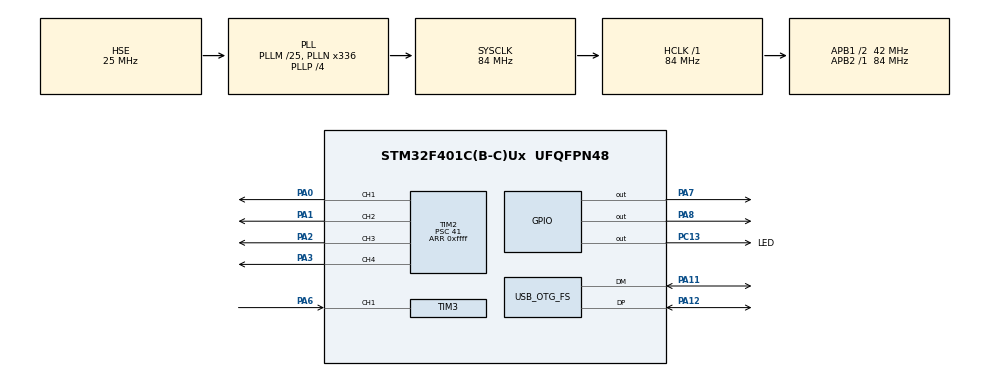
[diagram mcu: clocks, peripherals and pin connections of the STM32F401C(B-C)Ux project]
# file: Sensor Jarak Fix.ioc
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Mcu.Family=STM32F4
Mcu.Name=STM32F401C(B-C)Ux
Mcu.Package=UFQFPN48
NVIC.OTG_FS_IRQn=true\:0\:0\:false\:false\:true\:false\:true\:true
NVIC.PriorityGroup=NVIC_PRIORITYGROUP_4
NVIC.TIM2_IRQn=true\:0\:0\:false\:false\:true\:true\:true\:true
NVIC.TIM3_IRQn=true\:0\:0\:false\:false\:true\:true\:true\:true
PA0-WKUP.Signal=S_TIM2_CH1_ETR
PA1.Signal=S_TIM2_CH2
PA11.Mode=Device_Only
PA11.Signal=USB_OTG_FS_DM
PA12.Mode=Device_Only
PA12.Signal=USB_OTG_FS_DP
PA2.Signal=S_TIM2_CH3
PA3.Signal=S_TIM2_CH4
PA6.Signal=S_TIM3_CH1
PA7.Signal=GPIO_Output
PA8.Signal=GPIO_Output
PC13-ANTI_TAMP.GPIO_Label=LED
PC13-ANTI_TAMP.Signal=GPIO_Output
PH0\ -\ OSC_IN.Mode=HSE-External-Oscillator
PH0\ -\ OSC_IN.Signal=RCC_OSC_IN
PH1\ -\ OSC_OUT.Mode=HSE-External-Oscillator
PH1\ -\ OSC_OUT.Signal=RCC_OSC_OUT
ProjectManager.HeapSize=0x200
ProjectManager.StackSize=0x400
ProjectManager.TargetToolchain=STM32CubeIDE
RCC.48MHZClocksFreq_Value=48000000
RCC.AHBFreq_Value=84000000
RCC.APB1CLKDivider=RCC_HCLK_DIV2
RCC.APB1Freq_Value=42000000
RCC.APB1TimFreq_Value=84000000
RCC.APB2Freq_Value=84000000
RCC.APB2TimFreq_Value=84000000
RCC.CortexFreq_Value=84000000
RCC.HCLKFreq_Value=84000000
RCC.HSE_VALUE=25000000
RCC.HSI_VALUE=16000000
RCC.LSE_VALUE=32768
RCC.PLLM=25
RCC.PLLN=336
RCC.PLLP=RCC_PLLP_DIV4
RCC.PLLQ=7
RCC.SYSCLKFreq_VALUE=84000000
RCC.SYSCLKSource=RCC_SYSCLKSOURCE_PLLCLK
RCC.VCOOutputFreq_Value=336000000
SH.S_TIM2_CH1_ETR.0=TIM2_CH1,PWM Generation1 CH1
SH.S_TIM2_CH2.0=TIM2_CH2,PWM Generation2 CH2
SH.S_TIM2_CH3.0=TIM2_CH3,PWM Generation3 CH3
SH.S_TIM2_CH4.0=TIM2_CH4,PWM Generation4 CH4
SH.S_TIM3_CH1.0=TIM3_CH1,Input_Capture1_from_TI1
TIM2.Channel-PWM\ Generation1\ CH1=TIM_CHANNEL_1
TIM2.Channel-PWM\ Generation2\ CH2=TIM_CHANNEL_2
TIM2.Channel-PWM\ Generation3\ CH3=TIM_CHANNEL_3
TIM2.Channel-PWM\ Generation4\ CH4=TIM_CHANNEL_4
TIM2.Period=0xffff
TIM2.Prescaler=41
TIM3.Channel-Input_Capture1_from_TI1=TIM_CHANNEL_1
TIM3.Period=0xffff
TIM3.Prescaler=84-1
USB_DEVICE.CLASS_NAME_FS=CDC
USB_DEVICE.VirtualMode=Cdc
USB_DEVICE.VirtualModeFS=Cdc_FS
USB_OTG_FS.VirtualMode=Device_Only
VP_TIM2_VS_ClockSourceINT.Mode=Internal
VP_TIM3_VS_ClockSourceINT.Mode=Internal
VP_USB_DEVICE_VS_USB_DEVICE_CDC_FS.Mode=CDC_FS
board=custom

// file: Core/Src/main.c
/* USER CODE BEGIN Header */
/**
 ******************************************************************************
 * @file           : main.c
 * @brief          : Main program body
 ******************************************************************************
 * @attention
 *
 * Copyright (c) 2024 STMicroelectronics.
 * All rights reserved.
 *
 * This software is licensed under terms that can be found in the LICENSE file
 * in the root directory of this software component.
 * If no LICENSE file comes with this software, it is provided AS-IS.
 *
 ******************************************************************************
 */
/* USER CODE END Header */
#include "main.h"
#include "usb_device.h"

/* USER CODE BEGIN Includes */
#include "stdio.h"
#include "../../ECUAL/HCSR04/HCSR04.h"
/* USER CODE END Includes */

/* USER CODE BEGIN PD */
#define HCSR04_SENSOR1  0
/* USER CODE END PD */

TIM_HandleTypeDef htim2;
TIM_HandleTypeDef htim3;

void SystemClock_Config(void);
static void MX_GPIO_Init(void);
static void MX_TIM2_Init(void);
static void MX_TIM3_Init(void);

/* USER CODE BEGIN 0 */
int dataServo[5];
uint16_t SysTicks = 0;
int Distance = 0;
char MSG[25] = { 0 };

void HAL_TIM_IC_CaptureCallback(TIM_HandleTypeDef *htim) {
	HCSR04_TMR_IC_ISR(htim);
}

void HAL_TIM_PeriodElapsedCallback(TIM_HandleTypeDef *htim) {
	HCSR04_TMR_OVF_ISR(htim);
}

void SysTick_CallBack(void) {
	SysTicks++;
	if (SysTicks == 15) // Each 15msec
			{
		HCSR04_Trigger(0);
		SysTicks = 0;
	}
}
/* USER CODE END 0 */

int main(void) {

	/* MCU Configuration--------------------------------------------------------*/

	/* Reset of all peripherals, Initializes the Flash interface and the Systick. */
	HAL_Init();

	/* Configure the system clock */
	SystemClock_Config();

	/* Initialize all configured peripherals */
	MX_GPIO_Init();
	MX_TIM2_Init();
	MX_USB_DEVICE_Init();
	MX_TIM3_Init();
	/* USER CODE BEGIN 2 */
	HCSR04_Init(HCSR04_SENSOR1, &htim3);
	HAL_TIM_PWM_Start(&htim2, TIM_CHANNEL_1);
	HAL_TIM_PWM_Start(&htim2, TIM_CHANNEL_2);
	HAL_TIM_PWM_Start(&htim2, TIM_CHANNEL_3);
	HAL_TIM_PWM_Start(&htim2, TIM_CHANNEL_4);

	htim2.Instance->CCR1 = 3000;
	htim2.Instance->CCR2 = 2050;
	htim2.Instance->CCR3 = 3000 ;
	htim2.Instance->CCR4 = 3000;

	HAL_Delay(5000);

	/* USER CODE END 2 */

	/* Infinite loop */
	/* USER CODE BEGIN WHILE */
	while (1) {
		/* Kalibarsi Servo */
		int kalibrasiServo360 		= 1800 + (dataServo[0] * 2200 / 180);
		int kalibrasiServo2 		= 1000 + (dataServo[1] * 1500 / 90);
		int kalibrasiServo3 		= 3000 - (dataServo[2] * 2000 / 90);
		int kalibrasiServoGripper 	= 3040 - (dataServo[3] * 1840 / 90);

//		/* Percobaan Senin, 19 Feb 2024 */
//		Distance = HCSR04_Read(0);
//		htim2.Instance->CCR1 = dataServo[0];
//		htim2.Instance->CCR2 = dataServo[1];
//		htim2.Instance->CCR3 = dataServo[2];
//		htim2.Instance->CCR4 = dataServo[3];
//		dataServo[4] = HCSR04_Read(0);

		/* Percobaan Selasa, 20 Feb 2024 */
		Distance = HCSR04_Read(0);
		htim2.Instance->CCR1 = kalibrasiServo360;
		htim2.Instance->CCR2 = kalibrasiServo2;
		htim2.Instance->CCR3 = kalibrasiServo3;
		htim2.Instance->CCR4 = kalibrasiServoGripper;
		dataServo[4] = HCSR04_Read(0);

		/* Test Servo */
//		htim2.Instance->CCR1 = 1000;
//		HAL_Delay(1000);
//		htim2.Instance->CCR1 = 3999;
//
//		htim2.Instance->CCR2 = 1000;
//		HAL_Delay(1000);
//		htim2.Instance->CCR2 = 3999;
//
//		HAL_Delay(1000);
//		htim2.Instance->CCR3 = 1000;
//		HAL_Delay(1000);
//		htim2.Instance->CCR3 = 3999;
//
//		HAL_Delay(1000);
//		htim2.Instance->CCR4 = 1000;
//		HAL_Delay(1000);
//		htim2.Instance->CCR4 = 3999;

//		HAL_GPIO_WritePin(LED_GPIO_Port, LED_Pin, GPIO_PIN_RESET);
//		HAL_Delay(1000);
//		HAL_GPIO_WritePin(LED_GPIO_Port, LED_Pin, GPIO_PIN_SET);
//		HAL_Delay(1000);

		/* Untuk menampilkan nilai jarak HC-SR04 */
		Distance = HCSR04_Read(0);							//Membaca data dari sensor
//		sprintf(MSG, "%d %d %d %d %d \n",  kalibrasiServo360, kalibrasiServo2, kalibrasiServo3, kalibrasiServoGripper);				//Menampilkan data pada serial monitor
//		CDC_Transmit_FS((uint8_t*) MSG, strlen(MSG)); 		//Mengirim data pada serial monitor

		HAL_Delay(25);

		/* USER CODE END WHILE */

	}
}

void SystemClock_Config(void) {
	RCC_OscInitTypeDef RCC_OscInitStruct = { 0 };
	RCC_ClkInitTypeDef RCC_ClkInitStruct = { 0 };

	/** Configure the main internal regulator output voltage
	 */
	__HAL_RCC_PWR_CLK_ENABLE();
	__HAL_PWR_VOLTAGESCALING_CONFIG(PWR_REGULATOR_VOLTAGE_SCALE2);

	/** Initializes the RCC Oscillators according to the specified parameters
	 * in the RCC_OscInitTypeDef structure.
	 */
	RCC_OscInitStruct.OscillatorType = RCC_OSCILLATORTYPE_HSE;
	RCC_OscInitStruct.HSEState = RCC_HSE_ON;
	RCC_OscInitStruct.PLL.PLLState = RCC_PLL_ON;
	RCC_OscInitStruct.PLL.PLLSource = RCC_PLLSOURCE_HSE;
	RCC_OscInitStruct.PLL.PLLM = 25;
	RCC_OscInitStruct.PLL.PLLN = 336;
	RCC_OscInitStruct.PLL.PLLP = RCC_PLLP_DIV4;
	RCC_OscInitStruct.PLL.PLLQ = 7;
	if (HAL_RCC_OscConfig(&RCC_OscInitStruct) != HAL_OK) {
		Error_Handler();
	}

	/** Initializes the CPU, AHB and APB buses clocks
	 */
	RCC_ClkInitStruct.ClockType = RCC_CLOCKTYPE_HCLK | RCC_CLOCKTYPE_SYSCLK
			| RCC_CLOCKTYPE_PCLK1 | RCC_CLOCKTYPE_PCLK2;
	RCC_ClkInitStruct.SYSCLKSource = RCC_SYSCLKSOURCE_PLLCLK;
	RCC_ClkInitStruct.AHBCLKDivider = RCC_SYSCLK_DIV1;
	RCC_ClkInitStruct.APB1CLKDivider = RCC_HCLK_DIV2;
	RCC_ClkInitStruct.APB2CLKDivider = RCC_HCLK_DIV1;

	if (HAL_RCC_ClockConfig(&RCC_ClkInitStruct, FLASH_LATENCY_2) != HAL_OK) {
		Error_Handler();
	}
}

static void MX_TIM2_Init(void) {

	TIM_ClockConfigTypeDef sClockSourceConfig = { 0 };
	TIM_MasterConfigTypeDef sMasterConfig = { 0 };
	TIM_OC_InitTypeDef sConfigOC = { 0 };

	htim2.Instance = TIM2;
	htim2.Init.Prescaler = 41;
	htim2.Init.CounterMode = TIM_COUNTERMODE_UP;
	htim2.Init.Period = 0xffff;
	htim2.Init.ClockDivision = TIM_CLOCKDIVISION_DIV1;
	htim2.Init.AutoReloadPreload = TIM_AUTORELOAD_PRELOAD_DISABLE;
	if (HAL_TIM_Base_Init(&htim2) != HAL_OK) {
		Error_Handler();
	}
	sClockSourceConfig.ClockSource = TIM_CLOCKSOURCE_INTERNAL;
	if (HAL_TIM_ConfigClockSource(&htim2, &sClockSourceConfig) != HAL_OK) {
		Error_Handler();
	}
	if (HAL_TIM_PWM_Init(&htim2) != HAL_OK) {
		Error_Handler();
	}
	sMasterConfig.MasterOutputTrigger = TIM_TRGO_RESET;
	sMasterConfig.MasterSlaveMode = TIM_MASTERSLAVEMODE_DISABLE;
	if (HAL_TIMEx_MasterConfigSynchronization(&htim2, &sMasterConfig)
			!= HAL_OK) {
		Error_Handler();
	}
	sConfigOC.OCMode = TIM_OCMODE_PWM1;
	sConfigOC.Pulse = 0;
	sConfigOC.OCPolarity = TIM_OCPOLARITY_HIGH;
	sConfigOC.OCFastMode = TIM_OCFAST_DISABLE;
	if (HAL_TIM_PWM_ConfigChannel(&htim2, &sConfigOC, TIM_CHANNEL_1)
			!= HAL_OK) {
		Error_Handler();
	}
	if (HAL_TIM_PWM_ConfigChannel(&htim2, &sConfigOC, TIM_CHANNEL_2)
			!= HAL_OK) {
		Error_Handler();
	}
	if (HAL_TIM_PWM_ConfigChannel(&htim2, &sConfigOC, TIM_CHANNEL_3)
			!= HAL_OK) {
		Error_Handler();
	}
	if (HAL_TIM_PWM_ConfigChannel(&htim2, &sConfigOC, TIM_CHANNEL_4)
			!= HAL_OK) {
		Error_Handler();
	}
	HAL_TIM_MspPostInit(&htim2);

}

static void MX_TIM3_Init(void) {

	TIM_ClockConfigTypeDef sClockSourceConfig = { 0 };
	TIM_MasterConfigTypeDef sMasterConfig = { 0 };
	TIM_IC_InitTypeDef sConfigIC = { 0 };

	htim3.Instance = TIM3;
	htim3.Init.Prescaler = 84 - 1;
	htim3.Init.CounterMode = TIM_COUNTERMODE_UP;
	htim3.Init.Period = 0xffff;
	htim3.Init.ClockDivision = TIM_CLOCKDIVISION_DIV1;
	htim3.Init.AutoReloadPreload = TIM_AUTORELOAD_PRELOAD_DISABLE;
	if (HAL_TIM_Base_Init(&htim3) != HAL_OK) {
		Error_Handler();
	}
	sClockSourceConfig.ClockSource = TIM_CLOCKSOURCE_INTERNAL;
	if (HAL_TIM_ConfigClockSource(&htim3, &sClockSourceConfig) != HAL_OK) {
		Error_Handler();
	}
	if (HAL_TIM_IC_Init(&htim3) != HAL_OK) {
		Error_Handler();
	}
	sMasterConfig.MasterOutputTrigger = TIM_TRGO_RESET;
	sMasterConfig.MasterSlaveMode = TIM_MASTERSLAVEMODE_DISABLE;
	if (HAL_TIMEx_MasterConfigSynchronization(&htim3, &sMasterConfig)
			!= HAL_OK) {
		Error_Handler();
	}
	sConfigIC.ICPolarity = TIM_INPUTCHANNELPOLARITY_RISING;
	sConfigIC.ICSelection = TIM_ICSELECTION_DIRECTTI;
	sConfigIC.ICPrescaler = TIM_ICPSC_DIV1;
	sConfigIC.ICFilter = 0;
	if (HAL_TIM_IC_ConfigChannel(&htim3, &sConfigIC, TIM_CHANNEL_1) != HAL_OK) {
		Error_Handler();
	}

}

static void MX_GPIO_Init(void) {
	GPIO_InitTypeDef GPIO_InitStruct = { 0 };

	/* GPIO Ports Clock Enable */
	__HAL_RCC_GPIOC_CLK_ENABLE();
	__HAL_RCC_GPIOH_CLK_ENABLE();
	__HAL_RCC_GPIOA_CLK_ENABLE();

	/*Configure GPIO pin Output Level */
	HAL_GPIO_WritePin(LED_GPIO_Port, LED_Pin, GPIO_PIN_RESET);

	/*Configure GPIO pin Output Level */
	HAL_GPIO_WritePin(GPIOA, GPIO_PIN_7 | GPIO_PIN_8, GPIO_PIN_RESET);

	/*Configure GPIO pin : LED_Pin */
	GPIO_InitStruct.Pin = LED_Pin;
	GPIO_InitStruct.Mode = GPIO_MODE_OUTPUT_PP;
	GPIO_InitStruct.Pull = GPIO_NOPULL;
	GPIO_InitStruct.Speed = GPIO_SPEED_FREQ_LOW;
	HAL_GPIO_Init(LED_GPIO_Port, &GPIO_InitStruct);

	/*Configure GPIO pins : PA7 PA8 */
	GPIO_InitStruct.Pin = GPIO_PIN_7 | GPIO_PIN_8;
	GPIO_InitStruct.Mode = GPIO_MODE_OUTPUT_PP;
	GPIO_InitStruct.Pull = GPIO_NOPULL;
	GPIO_InitStruct.Speed = GPIO_SPEED_FREQ_LOW;
	HAL_GPIO_Init(GPIOA, &GPIO_InitStruct);

}

void Error_Handler(void) {
}
